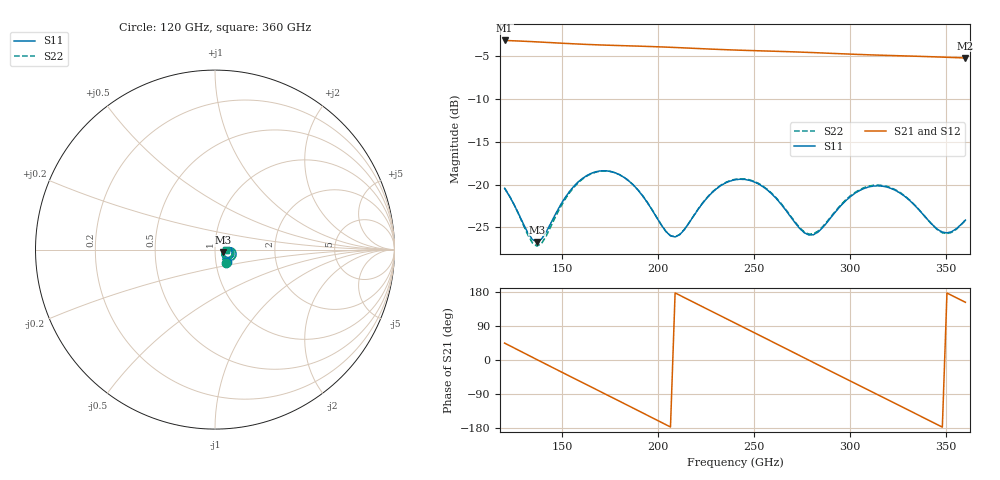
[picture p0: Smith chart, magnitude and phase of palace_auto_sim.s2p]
#  GHZ S DB R 50
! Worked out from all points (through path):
!   101 points, 120 GHz to 360 GHz, reference 50 ohm
!   highest |S21| = -3.14 dB at 120 GHz (marker M1); lowest = -5.2 dB at 360 GHz (marker M2)
!   group delay of S21, straight-line fit = 7.08 ps
!   lowest |S11| = -26.7 dB at 136.8 GHz (marker M3), VSWR 1.10, Z = 54.6 - j1.64 ohm
!   |S11| at or under -10 dB: start of sweep to end of sweep
!   |S22| runs from -27.2 to -18.4 dB; largest |S21 - S12| = 1.2e-14
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120  -20.43 -46.3  -3.14 44.6  -3.14 44.6  -20.38 -49.1
136.8  -26.68 -18.9  -3.31 1.2  -3.31 1.2  -27.18 -21.8
148.8  -22.49 8.5  -3.45 -29.6  -3.45 -29.6  -22.74 8.3
160.8  -19.22 -1.1  -3.58 -60.3  -3.58 -60.3  -19.30 -1.6
170.4  -18.37 -14.8  -3.67 -84.7  -3.67 -84.7  -18.40 -15.6
180  -18.85 -28.8  -3.74 -109.1  -3.74 -109.1  -18.85 -29.8
192  -21.34 -41.3  -3.82 -139.9  -3.82 -139.9  -21.31 -42.6
201.6  -24.71 -36.8  -3.90 -164.5  -3.90 -164.5  -24.68 -38.4
208.8  -26.11 -16.9  -3.96 177.0  -3.96 177.0  -26.09 -18.5
218.4  -23.67 3.5  -4.06 152.5  -4.06 152.5  -23.64 1.8
230.4  -20.46 -0.7  -4.18 121.9  -4.18 121.9  -20.41 -2.6
240  -19.43 -12.3  -4.26 97.6  -4.26 97.6  -19.37 -14.3
252  -19.88 -27.9  -4.34 67.1  -4.34 67.1  -19.82 -30.1
264  -22.27 -37.6  -4.42 36.5  -4.42 36.5  -22.19 -39.9
280.8  -25.85 -13.7  -4.56 -6.4  -4.56 -6.4  -25.74 -16.3
290.4  -23.71 1.6  -4.65 -30.9  -4.65 -30.9  -23.61 -1.3
302.4  -21.01 -2.6  -4.76 -61.4  -4.76 -61.4  -20.92 -5.7
312  -20.16 -13.0  -4.83 -85.7  -4.83 -85.7  -20.07 -16.3
321.6  -20.46 -24.2  -4.90 -110.0  -4.90 -110.0  -20.38 -27.7
340.8  -24.19 -31.6  -5.03 -158.8  -5.03 -158.8  -24.21 -35.5
350.4  -25.63 -15.7  -5.11 176.7  -5.11 176.7  -25.72 -19.0
360  -24.13 -0.9  -5.19 152.3  -5.19 152.3  -24.15 -3.6
